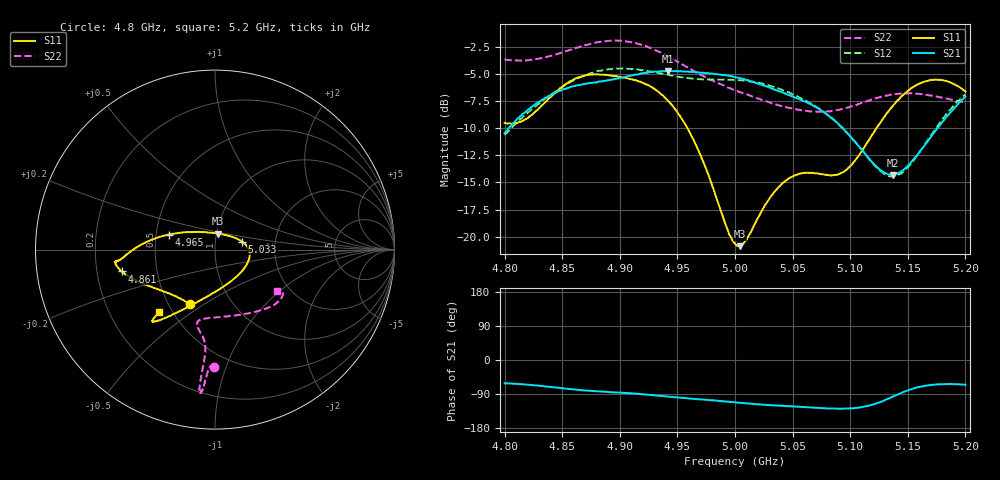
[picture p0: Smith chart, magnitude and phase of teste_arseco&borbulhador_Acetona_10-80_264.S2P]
! Network Analyzer HP8722D
! Hewlett-Packard
! Data name: Linha & Wilkinson
! Saver's name: Rodrigo Anjos
! Comments: Teste da utilização de aquisição
! continua pelo VNA HP8722D
! Time and date: 17/4/2025 16:33
!  Frequency  S11  S21  S12  S22
# HZ  S  MA R 50
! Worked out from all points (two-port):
!   401 points, 4.8 GHz to 5.2 GHz, reference 50 ohm
!   highest |S21| = -4.71 dB at 4.942 GHz (marker M1); lowest = -14.3 dB at 5.137 GHz (marker M2)
!   |S21| within 3 dB of the highest: 4.827 GHz to 5.064 GHz (236.5 MHz wide, 4.78 % of centre); 5.194073 GHz to end of sweep
!   lowest |S11| = -20.9 dB at 5.004 GHz (marker M3), VSWR 1.20, Z = 50.9 + j9.11 ohm
!   |S11| at or under -10 dB: 4.959 GHz to 5.123 GHz (164.1 MHz wide, 3.25 % of centre)
!   |S22| runs from -8.5 to -1.9 dB; largest |S21 - S12| = 0.87
!   S11 on the Smith chart (normalised r, x): 4.8 GHz: 0.64, -0.44; 4.861 GHz: 0.31, -0.10; 4.965 GHz: 0.58, +0.10; 5.033 GHz: 1.35, +0.12; 5.2 GHz: 0.43, -0.38
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4.8e9  0.3351 -114.9  0.3 -61.3  0.2942 -175.5  0.6566 -90.5
4.819e9  0.3502 -134.9  0.3799 -64.9  0.368 -174.5  0.6514 -92.1
4.861e9  0.5349 -166.9  0.4958 -78.0  0.5294 -177.9  0.7376 -94.4
4.867e9  0.5487 -169.3  0.5032 -79.7  0.547 -178.8  0.7568 -94.5
4.899e9  0.5466 -173.5  0.5369 -86.1  0.5961 174.7  0.8009 -96.0
4.934e9  0.4634 -179.3  0.5768 -94.3  0.5686 171.2  0.7117 -96.3
4.942e9  0.4228 177.1  0.5812 -96.7  0.5572 171.2  0.6762 -96.0
4.965e9  0.2722 162.1  0.5749 -102.8  0.5337 173.2  0.5787 -95.4
4.993e9  0.1096 118.1  0.5546 -109.8  0.5295 175.4  0.4903 -98.0
5e9  0.09282 94.4  0.5449 -111.9  0.5282 175.5  0.473 -99.5
5.004e9  0.09035 79.5  0.5378 -112.8  0.5267 175.4  0.4654 -100.2
5.011e9  0.09934 55.4  0.527 -114.7  0.5216 175.2  0.4521 -101.7
5.033e9  0.1578 16.5  0.4808 -119.5  0.491 174.1  0.4121 -103.5
5.049e9  0.1881 0.6  0.4437 -122.2  0.4565 173.5  0.3908 -99.4
5.067e9  0.1969 -18.6  0.405 -125.4  0.409 173.2  0.3783 -89.8
5.096e9  0.2023 -69.2  0.3053 -128.4  0.3067 174.7  0.3915 -67.2
5.121e9  0.305 -108.3  0.2145 -116.6  0.2137 -171.4  0.4328 -49.8
5.134e9  0.3832 -118.7  0.1935 -100.9  0.1899 -153.9  0.4507 -43.1
5.137e9  0.4011 -120.4  0.1925 -96.8  0.1893 -149.2  0.4532 -41.9
5.15e9  0.4701 -126.0  0.2122 -80.2  0.2086 -129.9  0.4578 -37.1
5.17e9  0.5276 -130.4  0.2875 -66.0  0.2929 -112.1  0.4477 -32.4
5.2e9  0.4667 -131.7  0.4423 -65.3  0.4541 -107.4  0.4158 -34.0
